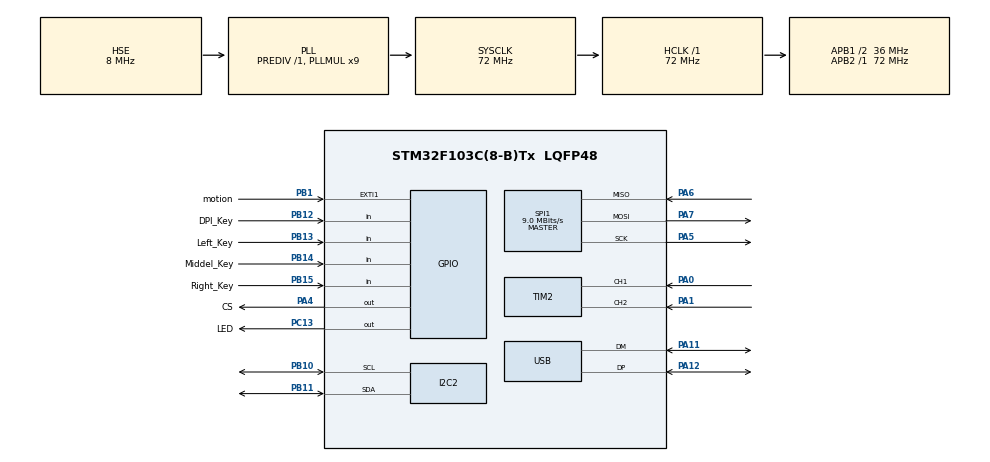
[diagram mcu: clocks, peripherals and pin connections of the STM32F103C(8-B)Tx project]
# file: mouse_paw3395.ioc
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I2C2.I2C_Mode=I2C_Fast
I2C2.NoStretchMode=I2C_NOSTRETCH_DISABLE
Mcu.Family=STM32F1
Mcu.Name=STM32F103C(8-B)Tx
Mcu.Package=LQFP48
NVIC.EXTI1_IRQn=true\:1\:0\:true\:false\:true\:true\:true\:true
NVIC.PriorityGroup=NVIC_PRIORITYGROUP_4
NVIC.TIM3_IRQn=true\:0\:0\:false\:false\:true\:true\:true\:true
NVIC.USB_LP_CAN1_RX0_IRQn=true\:0\:0\:false\:false\:true\:false\:true\:true
PA0-WKUP.GPIO_PuPd=GPIO_PULLUP
PA0-WKUP.Signal=S_TIM2_CH1_ETR
PA1.GPIO_PuPd=GPIO_PULLUP
PA1.Signal=S_TIM2_CH2
PA11.Mode=Device
PA11.Signal=USB_DM
PA12.Mode=Device
PA12.Signal=USB_DP
PA13.Mode=Serial_Wire
PA13.Signal=SYS_JTMS-SWDIO
PA14.Mode=Serial_Wire
PA14.Signal=SYS_JTCK-SWCLK
PA4.GPIO_Label=CS
PA4.GPIO_PuPd=GPIO_PULLDOWN
PA4.Signal=GPIO_Output
PA5.Mode=Full_Duplex_Master
PA5.Signal=SPI1_SCK
PA6.Mode=Full_Duplex_Master
PA6.Signal=SPI1_MISO
PA7.Mode=Full_Duplex_Master
PA7.Signal=SPI1_MOSI
PB1.GPIO_Label=motion
PB1.GPIO_ModeDefaultEXTI=GPIO_MODE_IT_FALLING
PB1.GPIO_PuPd=GPIO_PULLUP
PB1.Signal=GPXTI1
PB10.Mode=I2C
PB10.Signal=I2C2_SCL
PB11.Mode=I2C
PB11.Signal=I2C2_SDA
PB12.GPIO_Label=DPI_Key
PB12.GPIO_PuPd=GPIO_PULLUP
PB12.Signal=GPIO_Input
PB13.GPIO_Label=Left_Key
PB13.GPIO_PuPd=GPIO_PULLUP
PB13.Signal=GPIO_Input
PB14.GPIO_Label=Middel_Key
PB14.GPIO_PuPd=GPIO_PULLUP
PB14.Signal=GPIO_Input
PB15.GPIO_Label=Right_Key
PB15.GPIO_PuPd=GPIO_PULLUP
PB15.Signal=GPIO_Input
PC13-TAMPER-RTC.GPIO_Label=LED
PC13-TAMPER-RTC.PinState=GPIO_PIN_SET
PC13-TAMPER-RTC.Signal=GPIO_Output
PD0-OSC_IN.Mode=HSE-External-Oscillator
PD0-OSC_IN.Signal=RCC_OSC_IN
PD1-OSC_OUT.Mode=HSE-External-Oscillator
PD1-OSC_OUT.Signal=RCC_OSC_OUT
ProjectManager.HeapSize=0x200
ProjectManager.StackSize=0x400
ProjectManager.TargetToolchain=MDK-ARM V5.32
RCC.AHBFreq_Value=72000000
RCC.APB1CLKDivider=RCC_HCLK_DIV2
RCC.APB1Freq_Value=36000000
RCC.APB1TimFreq_Value=72000000
RCC.APB2Freq_Value=72000000
RCC.APB2TimFreq_Value=72000000
RCC.HCLKFreq_Value=72000000
RCC.PLLMUL=RCC_PLL_MUL9
RCC.SYSCLKFreq_VALUE=72000000
RCC.SYSCLKSource=RCC_SYSCLKSOURCE_PLLCLK
RCC.USBFreq_Value=48000000
RCC.USBPrescaler=RCC_USBCLKSOURCE_PLL_DIV1_5
SH.S_TIM2_CH1_ETR.0=TIM2_CH1,Encoder_Interface
SH.S_TIM2_CH2.0=TIM2_CH2,Encoder_Interface
SPI1.BaudRatePrescaler=SPI_BAUDRATEPRESCALER_8
SPI1.CLKPhase=SPI_PHASE_2EDGE
SPI1.CLKPolarity=SPI_POLARITY_HIGH
SPI1.CRCCalculation=SPI_CRCCALCULATION_ENABLE
SPI1.CalculateBaudRate=9.0 MBits/s
SPI1.Direction=SPI_DIRECTION_2LINES
SPI1.Mode=SPI_MODE_MASTER
SPI1.VirtualType=VM_MASTER
TIM2.EncoderMode=TIM_ENCODERMODE_TI12
TIM3.Period=1000-1
TIM3.Prescaler=72-1
USB_DEVICE.CLASS_NAME_FS=HID
USB_DEVICE.HID_FS_BINTERVAL=0x1
USB_DEVICE.VirtualMode=Hid
USB_DEVICE.VirtualModeFS=Hid_FS
VP_TIM3_VS_ClockSourceINT.Mode=Internal
VP_USB_DEVICE_VS_USB_DEVICE_HID_FS.Mode=HID_FS
board=custom

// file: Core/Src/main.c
/* USER CODE BEGIN Header */
/**
  ******************************************************************************
  * @file           : main.c
  * @brief          : Main program body
  ******************************************************************************
  * @attention
  *
  * Copyright (c) 2024 STMicroelectronics.
  * All rights reserved.
  *
  * This software is licensed under terms that can be found in the LICENSE file
  * in the root directory of this software component.
  * If no LICENSE file comes with this software, it is provided AS-IS.
  *
  ******************************************************************************
  */
/* USER CODE END Header */
#include "main.h"
#include "i2c.h"
#include "spi.h"
#include "tim.h"
#include "usb_device.h"
#include "gpio.h"

/* USER CODE BEGIN Includes */
#include "usbd_hid.h"
#include "delay.h"
#include "PAW3395.h"
#include "myMouse.h"
#include "OLED.h"
//extern USBD_HandleTypeDef hUsbDeviceFS;
/* USER CODE END Includes */

/* USER CODE BEGIN PTD */

#define TASKNUM_MAX	4

typedef struct{
	void (*pTask)(void);    //任务函数
	uint16_t TaskPeriod;    //多少毫秒调用一次任务函数
}TaskStruct;

typedef enum KEY{
	Left_Key = 1,
	Right_Key,
	Middel_Key,
	DPI_Key
}KEY;

/* USER CODE END PTD */

/* USER CODE BEGIN PD */
uint8_t Key_Read(void);

void Task_Init(void);
void Task_Run(void);

void Key_Task(void);
void Mouse_XY_Updata(void);
void Mouse_wheel_Updata(void);
void Show_Task(void);
void LED_Task(void);
/* USER CODE END PD */

/* USER CODE BEGIN PV */
uint8_t Key_Value;
uint8_t Key_Down;
uint8_t Key_UP;
uint8_t Key_Old;

uint8_t Left_Key_Value = 0;
uint8_t Right_Key_Value = 0;
uint8_t Middel_Key_Value = 0;

int8_t wheel_num;

struct mouseHID_t mouseHID;
uint8_t motion_burst_data[12] = {0};
int16_t X_Speed,Y_Speed;
uint16_t DPI = 1500;    //初始化DPI初值

uint32_t SYS_tick_ms;

uint8_t led_flag = 0;
uint8_t Key_cnt = 0;

uint16_t TaskTimer[TASKNUM_MAX];
TaskStruct Task[] = {
	{Key_Task, 20},
	{Mouse_XY_Updata, 1},
	{Mouse_wheel_Updata, 5},
    {LED_Task, 100}
};

/* USER CODE END PV */

void SystemClock_Config(void);

/* USER CODE BEGIN 0 */

/******************************定时器3中断回调函数*********************************/
void HAL_TIM_PeriodElapsedCallback(TIM_HandleTypeDef *hitm)
{
	uint8_t i;

    // 系统总运行时间，可连续计时49.7天
	SYS_tick_ms++;

	//HAL_GPIO_WritePin(LED_GPIO_Port, LED_Pin, GPIO_PIN_RESET);
	for(i = 0; i < TASKNUM_MAX; i++){
		if(TaskTimer[i])
			TaskTimer[i]--;
	}
}

/******************************任务调度机制*********************************/
void Task_Init(void)
{
	uint8_t NTask;
	for(NTask = 0; NTask < sizeof(Task)/sizeof(Task[0]); NTask++){
		TaskTimer[NTask] = Task[NTask].TaskPeriod;
	}
}

void Task_Run(void)
{
	uint8_t NTask;
	for(NTask = 0; NTask < sizeof(Task)/sizeof(Task[0]); NTask++){
		if(TaskTimer[NTask] == 0)
		{
			TaskTimer[NTask] = Task[NTask].TaskPeriod;
			(Task[NTask].pTask)();
		}
	}
}

/******************************具体任务函数*********************************/
//按键任务
void Key_Task(void)
{
	Key_Value = Key_Read();
	Key_Down = Key_Value&(Key_Old^Key_Value);
	Key_UP = ~Key_Value&(Key_Old^Key_Value);
	Key_Old = Key_Value;

    //按键下降沿（按下瞬间）
	switch(Key_Down)
	{
		case Left_Key:
			Left_Key_Value = 1;
		break;

		case Right_Key:
			Right_Key_Value = 1;
		break;

		case Middel_Key:
			Middel_Key_Value = 1;
		break;
	}

    //按键上升沿（弹起瞬间）
	switch(Key_UP)
	{
		case Left_Key:
			Left_Key_Value = 0;
		break;

		case Right_Key:
			Right_Key_Value = 0;
		break;

		case Middel_Key:
			Middel_Key_Value = 0;
		break;
	}

    //DPI按键按下
	if(Key_Down == DPI_Key)
	{
		DPI += 500;
		if(DPI > 3000)
		{
			DPI = 500;
		}
		DPI_Config(DPI);
        led_flag = 1;
        Key_cnt++;
	}
}

//LED任务，DPI改变时LED闪烁3次
//若闪烁期间DPI按键再次按下，则本次3次的闪烁完成后再进行3次闪烁，以此类推
void LED_Task(void)
{
    static uint32_t LED_tick_ms;
    static uint8_t blink_cnt;

    if(led_flag == 1)
    {
        if(SYS_tick_ms - LED_tick_ms >= 500)
        {
            LED_tick_ms = SYS_tick_ms;
            HAL_GPIO_TogglePin(LED_GPIO_Port, LED_Pin);
            blink_cnt++;
            if(blink_cnt == 6)
            {
                Key_cnt--;
                blink_cnt = 0;
                HAL_GPIO_WritePin(LED_GPIO_Port, LED_Pin, GPIO_PIN_SET);
            }
            if(Key_cnt == 0)
            {
                led_flag = 0;
            }
        }
    }
}

//更新移动数据，并向电脑发送报文
void Mouse_XY_Updata(void)
{
	Motion_Burst(motion_burst_data);   //读取PAW3395传回来的X和Y速度

	X_Speed = (int16_t)(motion_burst_data[2] + (motion_burst_data[3] << 8));
	Y_Speed = (int16_t)(motion_burst_data[4] + (motion_burst_data[5] << 8));

	myMouse_update(&mouseHID);
}

//更新滚轮数据
void Mouse_wheel_Updata(void)
{
	if((int16_t)__HAL_TIM_GET_COUNTER(&htim2) > 0)// 返回16位数据，如果需要负值要强制数据类型转换
		wheel_num = 0xFF;
	else if((int16_t)__HAL_TIM_GET_COUNTER(&htim2) < 0)
		wheel_num = 0x01;
	else
		wheel_num = 0x80;

	//清除编码器计数
	TIM2->CNT=0;  // x表示第几个定时器，例如TIM8->CNT=0;
}

//显示各种数据参数，方便调试
void Show_Task(void)
{
	OLED_Printf(0, 0, OLED_6X8, "X_Speed:%06d", X_Speed);
	OLED_Printf(0, 8, OLED_6X8, "Y_Speed:%06d", Y_Speed);
	OLED_Printf(0, 16, OLED_6X8, "wheel:%05d", (int16_t)__HAL_TIM_GET_COUNTER(&htim2));
	OLED_Printf(0, 24, OLED_6X8, "DPI:%d", DPI);

	OLED_Update();
}
/*********************************其他操作函数*****************************************/

uint8_t Key_Read(void)
{
	uint8_t Key_Value = 0;

	if(HAL_GPIO_ReadPin(GPIOB, Left_Key_Pin) == 0)
		Key_Value = Left_Key;
	else if(HAL_GPIO_ReadPin(GPIOB, Right_Key_Pin) == 0)
		Key_Value = Right_Key;
	else if(HAL_GPIO_ReadPin(GPIOB, Middel_Key_Pin) == 0)
		Key_Value = Middel_Key;
	else if(HAL_GPIO_ReadPin(GPIOB, DPI_Key_Pin) == 0)
		Key_Value = DPI_Key;

	return Key_Value;
}

/* USER CODE END 0 */

int main(void)
{

  /* MCU Configuration--------------------------------------------------------*/

  /* Reset of all peripherals, Initializes the Flash interface and the Systick. */
  HAL_Init();

  /* Configure the system clock */
  SystemClock_Config();

  /* USER CODE BEGIN SysInit */
	delay_init(72); //	精确延时初始化

  /* USER CODE END SysInit */

  /* Initialize all configured peripherals */
  MX_GPIO_Init();
  MX_USB_DEVICE_Init();
  MX_SPI1_Init();
  MX_TIM3_Init();
  MX_TIM2_Init();
  MX_I2C2_Init();
  /* USER CODE BEGIN 2 */

	//开启spi
	__HAL_SPI_ENABLE(&hspi1);

    //以任何顺序为VDD和VDDIO供电，每次供电之间的延迟不超过100ms。确保所有供应稳定。
    HAL_Delay(100);
    //初始化PAW3395
	Power_up_sequence();
	myMouse_init(&mouseHID);
	DPI_Config(DPI);

	__HAL_TIM_CLEAR_IT(&htim3,TIM_IT_UPDATE ); //清除IT标志位
	HAL_TIM_Base_Start_IT(&htim3);//启动时基

    //任务初始化
	Task_Init();

    //开启定时器2编码器
	HAL_TIM_Encoder_Start(&htim2, TIM_CHANNEL_ALL);

  /* USER CODE END 2 */

  /* Infinite loop */
  /* USER CODE BEGIN WHILE */
  while (1)
  {
        //启动任务调度器
		Task_Run();
    /* USER CODE END WHILE */

  }
}

void SystemClock_Config(void)
{
  RCC_OscInitTypeDef RCC_OscInitStruct = {0};
  RCC_ClkInitTypeDef RCC_ClkInitStruct = {0};
  RCC_PeriphCLKInitTypeDef PeriphClkInit = {0};

  /** Initializes the RCC Oscillators according to the specified parameters
  * in the RCC_OscInitTypeDef structure.
  */
  RCC_OscInitStruct.OscillatorType = RCC_OSCILLATORTYPE_HSE;
  RCC_OscInitStruct.HSEState = RCC_HSE_ON;
  RCC_OscInitStruct.HSEPredivValue = RCC_HSE_PREDIV_DIV1;
  RCC_OscInitStruct.HSIState = RCC_HSI_ON;
  RCC_OscInitStruct.PLL.PLLState = RCC_PLL_ON;
  RCC_OscInitStruct.PLL.PLLSource = RCC_PLLSOURCE_HSE;
  RCC_OscInitStruct.PLL.PLLMUL = RCC_PLL_MUL9;
  if (HAL_RCC_OscConfig(&RCC_OscInitStruct) != HAL_OK)
  {
    Error_Handler();
  }

  /** Initializes the CPU, AHB and APB buses clocks
  */
  RCC_ClkInitStruct.ClockType = RCC_CLOCKTYPE_HCLK|RCC_CLOCKTYPE_SYSCLK
                              |RCC_CLOCKTYPE_PCLK1|RCC_CLOCKTYPE_PCLK2;
  RCC_ClkInitStruct.SYSCLKSource = RCC_SYSCLKSOURCE_PLLCLK;
  RCC_ClkInitStruct.AHBCLKDivider = RCC_SYSCLK_DIV1;
  RCC_ClkInitStruct.APB1CLKDivider = RCC_HCLK_DIV2;
  RCC_ClkInitStruct.APB2CLKDivider = RCC_HCLK_DIV1;

  if (HAL_RCC_ClockConfig(&RCC_ClkInitStruct, FLASH_LATENCY_2) != HAL_OK)
  {
    Error_Handler();
  }
  PeriphClkInit.PeriphClockSelection = RCC_PERIPHCLK_USB;
  PeriphClkInit.UsbClockSelection = RCC_USBCLKSOURCE_PLL_DIV1_5;
  if (HAL_RCCEx_PeriphCLKConfig(&PeriphClkInit) != HAL_OK)
  {
    Error_Handler();
  }
}

void Error_Handler(void)
{
  __disable_irq();
  while (1)
  {
  }
}
